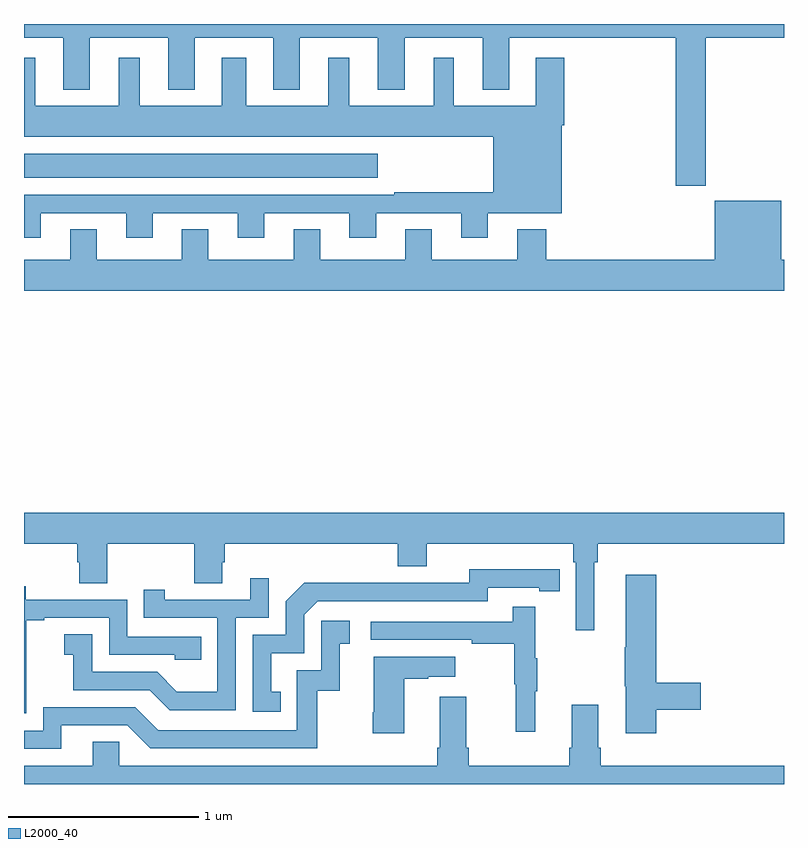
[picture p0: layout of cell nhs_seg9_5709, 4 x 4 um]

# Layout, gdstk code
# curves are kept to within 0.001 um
import gdstk
lib = gdstk.Library(unit=1e-6, precision=1e-09)
def R(c, l, rs):  # rectangles x0, y0, x1, y1
    for r in rs: c.add(gdstk.rectangle(r[:2], r[2:], *l))
def P(c, l, *ps):  # polygons
    for p in ps: c.add(gdstk.Polygon(p, *l))
L2000_40 = (2000, 40)

nhs_seg9_5709 = lib.new_cell('nhs_seg9_5709')
R(nhs_seg9_5709, L2000_40, [(443,1187.69,444.862,1187.818)])
P(nhs_seg9_5709, L2000_40, [(446.589,1188.428),(447,1188.428),(447,1188.5),(443,1188.5),(443,1188.428),(443.207,1188.428),(443.207,1188.155),(443.347,1188.155),(443.347,1188.428),(443.759,1188.428),(443.759,1188.155),(443.899,1188.155),(443.899,1188.428),(444.311,1188.428),(444.311,1188.155),(444.451,1188.155),(444.451,1188.428),(444.863,1188.428),(444.863,1188.155),(445.003,1188.155),(445.003,1188.428),(445.415,1188.428),(445.415,1188.155),(445.555,1188.155),(445.555,1188.428),(446.429,1188.428),(446.429,1187.649),(446.589,1187.649)],
  [(443.089,1187.505),(443.537,1187.505),(443.537,1187.376),(443.677,1187.376),(443.677,1187.505),(444.125,1187.505),(444.125,1187.376),(444.265,1187.376),(444.265,1187.505),(444.713,1187.505),(444.713,1187.376),(444.853,1187.376),(444.853,1187.505),(445.301,1187.505),(445.301,1187.376),(445.441,1187.376),(445.441,1187.504),(445.831,1187.504),(445.831,1187.966),(445.844,1187.966),(445.844,1188.322),(445.694,1188.322),(445.694,1188.07),(445.261,1188.07),(445.261,1188.322),(445.157,1188.322),(445.157,1188.07),(444.712,1188.07),(444.712,1188.322),(444.602,1188.322),(444.602,1188.07),(444.169,1188.07),(444.169,1188.322),(444.041,1188.322),(444.041,1188.07),(443.608,1188.07),(443.608,1188.322),(443.498,1188.322),(443.498,1188.07),(443.059,1188.07),(443.059,1188.322),(443,1188.322),(443,1187.906),(445.469,1187.906),(445.469,1187.614),(444.949,1187.614),(444.949,1187.601),(443,1187.601),(443,1187.376),(443.089,1187.376)],
  [(447,1187.26),(446.986,1187.26),(446.986,1187.569),(446.636,1187.569),(446.636,1187.26),(445.748,1187.26),(445.748,1187.419),(445.595,1187.419),(445.595,1187.26),(445.147,1187.26),(445.147,1187.42),(445.007,1187.42),(445.007,1187.26),(444.559,1187.26),(444.559,1187.42),(444.419,1187.42),(444.419,1187.26),(443.971,1187.26),(443.971,1187.42),(443.831,1187.42),(443.831,1187.26),(443.383,1187.26),(443.383,1187.42),(443.243,1187.42),(443.243,1187.26),(443,1187.26),(443,1187.096),(447,1187.096)],
  [(446.002,1185.668),(446.021,1185.668),(446.021,1185.764),(447,1185.764),(447,1185.928),(443,1185.928),(443,1185.764),(443.279,1185.764),(443.279,1185.666),(443.291,1185.666),(443.291,1185.556),(443.439,1185.556),(443.439,1185.764),(443.896,1185.764),(443.896,1185.556),(444.043,1185.556),(444.043,1185.666),(444.056,1185.666),(444.056,1185.764),(444.968,1185.764),(444.968,1185.647),(445.12,1185.647),(445.12,1185.764),(445.892,1185.764),(445.892,1185.668),(445.905,1185.668),(445.905,1185.309),(446.002,1185.309)],
  [(444.35,1184.985),(444.301,1184.985),(444.301,1185.189),(444.474,1185.189),(444.474,1185.39),(444.546,1185.462),(445.44,1185.462),(445.44,1185.534),(445.712,1185.534),(445.712,1185.514),(445.82,1185.514),(445.82,1185.63),(445.344,1185.631),(445.344,1185.558),(444.884,1185.558),(444.884,1185.56),(444.476,1185.56),(444.378,1185.462),(444.378,1185.285),(444.204,1185.285),(444.204,1184.88),(444.35,1184.88)],
  [(446.327,1184.89),(446.563,1184.89),(446.563,1185.032),(446.327,1185.032),(446.327,1185.601),(446.168,1185.601),(446.168,1185.221),(446.161,1185.221),(446.161,1185.015),(446.168,1185.015),(446.168,1184.766),(446.327,1184.766)],
  [(444.114,1185.375),(444.288,1185.375),(444.288,1185.583),(444.191,1185.583),(444.191,1185.471),(443.74,1185.471),(443.74,1185.523),(443.629,1185.523),(443.629,1185.375),(444.018,1185.375),(444.018,1184.986),(443.804,1184.986),(443.7,1185.09),(443.358,1185.09),(443.358,1185.289),(443.211,1185.289),(443.211,1185.179),(443.26,1185.179),(443.26,1184.994),(443.663,1184.994),(443.768,1184.889),(444.114,1184.889)],
  [(443.013,1185.079),(443.012,1185.079),(443.012,1185.363),(443.107,1185.363),(443.107,1185.375),(443.448,1185.375),(443.448,1185.18),(443.793,1185.18),(443.793,1185.153),(443.933,1185.153),(443.933,1185.276),(443.544,1185.276),(443.544,1185.471),(443.01,1185.471),(443.01,1185.54),(443,1185.54),(443,1184.873),(443.013,1184.873)],
  [(445.691,1184.987),(445.702,1184.987),(445.702,1185.161),(445.691,1185.161),(445.691,1185.433),(445.573,1185.433),(445.573,1185.354),(444.825,1185.354),(444.825,1185.258),(445.357,1185.258),(445.357,1185.238),(445.581,1185.238),(445.581,1185.024),(445.588,1185.024),(445.588,1184.775),(445.691,1184.775)],
  [(443.197,1184.808),(443.544,1184.808),(443.664,1184.688),(444.544,1184.688),(444.544,1184.991),(444.662,1184.991),(444.662,1185.237),(444.715,1185.237),(444.715,1185.358),(444.564,1185.358),(444.564,1185.099),(444.435,1185.099),(444.435,1184.784),(443.706,1184.784),(443.586,1184.904),(443.1,1184.904),(443.1,1184.781),(443,1184.781),(443,1184.685),(443.197,1184.685)],
  [(445,1185.055),(445.127,1185.055),(445.127,1185.065),(445.27,1185.065),(445.27,1185.169),(444.842,1185.169),(444.842,1184.878),(444.835,1184.878),(444.835,1184.766),(445,1184.766)],
  [(447,1184.596),(446.036,1184.596),(446.036,1184.692),(446.023,1184.692),(446.023,1184.917),(445.883,1184.917),(445.883,1184.692),(445.871,1184.692),(445.871,1184.596),(445.34,1184.596),(445.34,1184.692),(445.327,1184.692),(445.327,1184.959),(445.187,1184.959),(445.187,1184.692),(445.175,1184.692),(445.175,1184.596),(443.502,1184.596),(443.502,1184.723),(443.363,1184.723),(443.363,1184.596),(443,1184.596),(443,1184.5),(447,1184.5)])

lib.write_gds('nhs_seg9_5709.gds')
